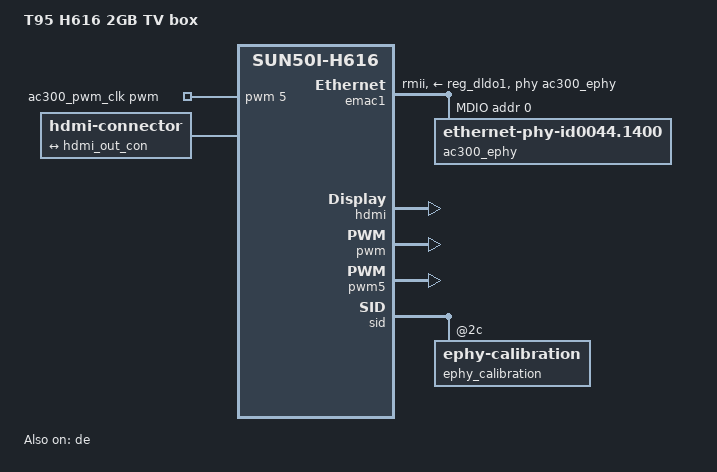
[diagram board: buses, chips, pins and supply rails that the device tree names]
// SPDX-License-Identifier: (GPL-2.0+ OR MIT)
/*
 * T95 H616 2GB TV box: Armbian variant. Adds HDMI video and the wired
 * 10/100 Ethernet on top of the shared board file, using the H616 display
 * pipeline and the AC300 internal-EPHY support carried by Armbian's sunxi
 * kernel patches (emac1, rmii_pins, pwm5, the h616-internal-emac variant of
 * dwmac-sun8i and the ac300-phy driver). The EPHY wiring follows
 * sun50i-h616-tanix-tx6s-axp313.dts from the same Armbian tree; the vendor
 * dts confirms the pieces: gmac1 on PA0-PA9 in RMII mode, delays 7/0x1f
 * (700/3100 ps), and the AC200/AC300 die with tv_pwm_ch = 5 (PA12).
 */

/dts-v1/;

#include "sun50i-h616.dtsi"
#include "sun50i-h616-t95-2gb.dtsi"

/ {
	model = "T95 H616 2GB TV box";
	compatible = "t95,t95-2gb", "allwinner,sun50i-h616";

	aliases {
		ethernet0 = &emac1;
	};

	ac300_pwm_clk: ac300-clk {
		compatible = "pwm-clock";
		#clock-cells = <0>;
		/* 500ns period -> 2MHz */
		pwms = <&pwm 5 500 0>;
		clock-frequency = <2000000>;
		status = "okay";
	};

	connector {
		compatible = "hdmi-connector";
		type = "a";

		port {
			hdmi_con_in: endpoint {
				remote-endpoint = <&hdmi_out_con>;
			};
		};
	};
};

&de {
	status = "okay";
};

&emac1 {
	compatible = "allwinner,sun50i-h616-internal-emac";
	pinctrl-names = "default";
	pinctrl-0 = <&rmii_pins>;
	phy-mode = "rmii";
	phy-handle = <&ac300_ephy>;
	phy-supply = <&reg_dldo1>;
	allwinner,rx-delay-ps = <3100>;
	allwinner,tx-delay-ps = <700>;
	status = "okay";

	mdio-mux {
		compatible = "allwinner,sun8i-h3-mdio-mux";
		#address-cells = <1>;
		#size-cells = <0>;
		mdio-parent-bus = <&mdio1>;

		internal_mdio: mdio@1 {
			compatible = "allwinner,sun8i-h3-mdio-internal";
			reg = <1>;
			#address-cells = <1>;
			#size-cells = <0>;

			ac300_ephy: ethernet-phy@0 {
				compatible = "ethernet-phy-id0044.1400",
					     "allwinner,sun50i-h618-ac300-ephy",
					     "ethernet-phy-ieee802.3-c22";
				reg = <0>;
				clocks = <&ccu CLK_EMAC_25M>, <&ac300_pwm_clk>;
				clock-names = "ephy", "pwm";
				nvmem-cells = <&ephy_calibration>;
				nvmem-cell-names = "calibration";
				status = "okay";
			};
		};
	};
};

&hdmi {
	hvcc-supply = <&reg_vcc3v3>;
	status = "okay";
};

&hdmi_out {
	hdmi_out_con: endpoint {
		remote-endpoint = <&hdmi_con_in>;
	};
};

&mdio1 {
	compatible = "snps,dwmac-mdio";
};

&pwm {
	status = "okay";
};

&pwm5 {
	pinctrl-names = "default";
	pinctrl-0 = <&pwm5_pin>;
	clk_bypass_output = <0x1>;
	status = "okay";
};

&sid {
	ephy_calibration: ephy-calibration@2c {
		reg = <0x2c 0x2>;
	};
};
